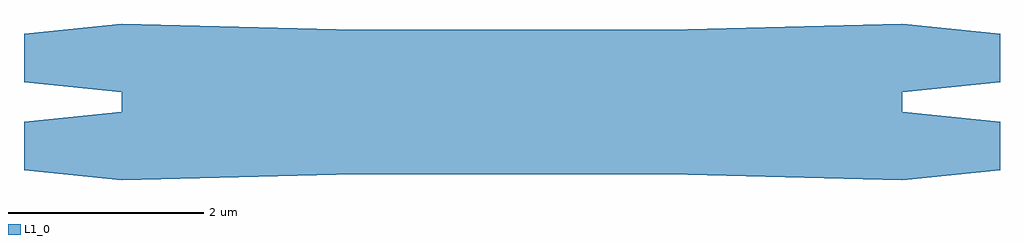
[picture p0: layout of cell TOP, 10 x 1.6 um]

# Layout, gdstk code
import gdstk
lib = gdstk.Library(unit=1e-6, precision=1e-10)
def R(c, l, rs):  # rectangles x0, y0, x1, y1
    for r in rs: c.add(gdstk.rectangle(r[:2], r[2:], *l))
def P(c, l, *ps):  # polygons
    for p in ps: c.add(gdstk.Polygon(p, *l))
L1_0 = (1, 0)

taper_4 = lib.new_cell('taper_4')
P(taper_4, L1_0, [(4,-0.8),(4,-0.1),(5,-0.2),(5,-0.7)])

taper_3 = lib.new_cell('taper_3')
P(taper_3, L1_0, [(4,0.1),(4,0.8),(5,0.7),(5,0.2)])

mmi_part_4 = lib.new_cell('MMI_part_4')
P(mmi_part_4, L1_0, [(4,-0.8),(1.6,-0.74),(1.6,0.74),(4,0.8)])

mmi_part_3 = lib.new_cell('MMI_part_3')
R(mmi_part_3, L1_0, [(0,-0.74,1.6,0.74)])

mmi_part_2 = lib.new_cell('MMI_part_2')
R(mmi_part_2, L1_0, [(-1.6,-0.74,0,0.74)])

mmi_part_1 = lib.new_cell('MMI_part_1')
P(mmi_part_1, L1_0, [(-4,-0.8),(-4,0.8),(-1.6,0.74),(-1.6,-0.74)])

taper_2 = lib.new_cell('taper_2')
P(taper_2, L1_0, [(-4,-0.8),(-5,-0.7),(-5,-0.2),(-4,-0.1)])

taper_1 = lib.new_cell('taper_1')
P(taper_1, L1_0, [(-4,0.1),(-5,0.2),(-5,0.7),(-4,0.8)])

group = lib.new_cell('group')
P(group, L1_0, [(-4,-0.8),(-5,-0.7),(-5,-0.2),(-4,-0.1),(-4,0.1),(-5,0.2),(-5,0.7),(-4,0.8),(-1.6,0.74),(1.6,0.74),(4,0.8),(5,0.7),(5,0.2),(4,0.1),(4,-0.1),(5,-0.2),(5,-0.7),(4,-0.8),(1.6,-0.74),(-1.6,-0.74)])
group.add(gdstk.Reference(taper_4, (0,0)))
group.add(gdstk.Reference(taper_3, (0,0)))
group.add(gdstk.Reference(mmi_part_4, (0,0)))
group.add(gdstk.Reference(mmi_part_3, (0,0)))
group.add(gdstk.Reference(mmi_part_2, (0,0)))
group.add(gdstk.Reference(mmi_part_1, (0,0)))
group.add(gdstk.Reference(taper_2, (0,0)))
group.add(gdstk.Reference(taper_1, (0,0)))

top = lib.new_cell('TOP')
P(top, L1_0, [(-4,-0.8),(-5,-0.7),(-5,-0.2),(-4,-0.1),(-4,0.1),(-5,0.2),(-5,0.7),(-4,0.8),(-1.6,0.74),(1.6,0.74),(4,0.8),(5,0.7),(5,0.2),(4,0.1),(4,-0.1),(5,-0.2),(5,-0.7),(4,-0.8),(1.6,-0.74),(-1.6,-0.74)])
top.add(gdstk.Reference(group, (0,0)))

lib.write_gds('TOP.gds')
